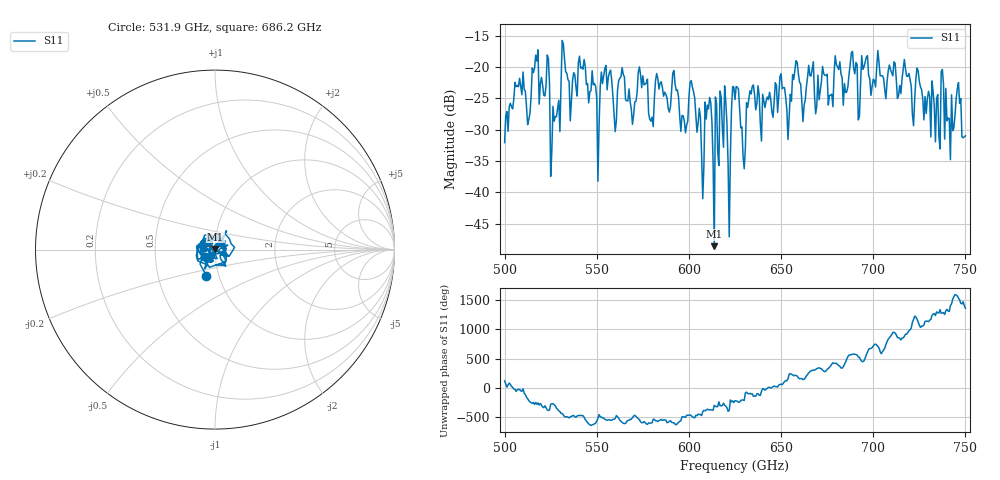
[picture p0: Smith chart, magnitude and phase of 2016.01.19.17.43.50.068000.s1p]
!Created with skrf (http://scikit-rf.org).
# GHz S RI R 50.0
!freq ReS11 ImS11
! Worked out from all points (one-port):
!   401 points, 500 GHz to 750 GHz, reference 50 ohm
!   lowest |S11| = -48.6 dB at 613.8 GHz (marker M1), VSWR 1.01, Z = 50.2 + j0.31 ohm
!   |S11| at or under -10 dB: start of sweep to end of sweep
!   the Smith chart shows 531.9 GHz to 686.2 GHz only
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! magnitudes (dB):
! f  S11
! 500 GHz  -32.1
! 506.9 GHz  -22.9
! 513.1 GHz  -28.4
! 516.9 GHz  -18.1
! 523.1 GHz  -18.1
! 526.2 GHz  -26.3
! 531.2 GHz  -15.8
! 550.6 GHz  -38.2
! 553.8 GHz  -21.4
! 560 GHz  -30.3
! 562.5 GHz  -21.8
! 593.8 GHz  -23.6
! 598.1 GHz  -30.5
! 601.9 GHz  -23.2
! 606.9 GHz  -34.0
! 611.2 GHz  -24.8
! 613.8 GHz  -48.6
! 618.1 GHz  -29.6
! 621.9 GHz  -47.1
! 625 GHz  -25.2
! 629.4 GHz  -34.3
! 633.8 GHz  -24.3
! 656.2 GHz  -21.2
! 687.5 GHz  -19.6
! 718.8 GHz  -21.5
! 735 GHz  -24.4
! 746.2 GHz  -22.5
! 750 GHz  -31.0
